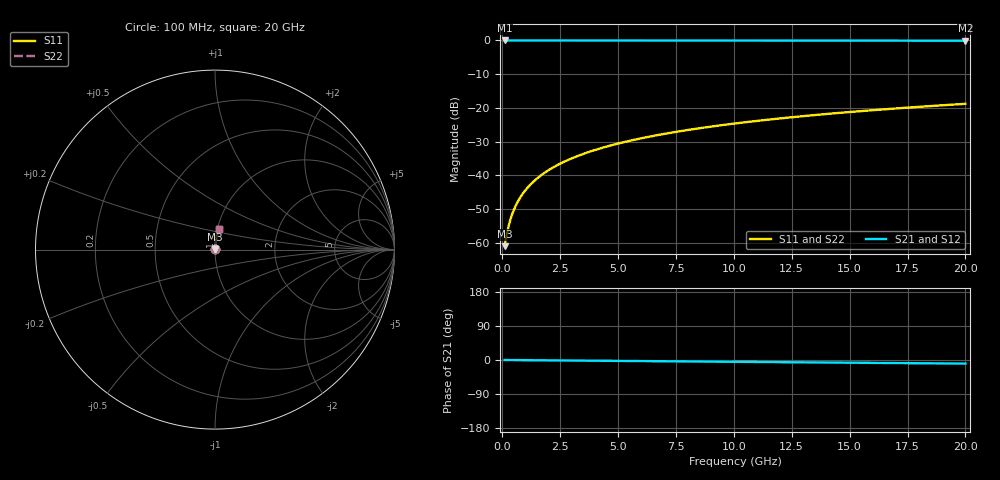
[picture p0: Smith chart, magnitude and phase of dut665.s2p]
! Touchstone file exported from HFSS 2026.1.0
!  File:  C:/ffzhzh/LocalFiles/Ansys_Project_Files/temp_train_TSV_665_1783027039_55676.aedt
!  Generated:  05:19:49 AM Jul  3, 2026
!  Design:  TSV
!  Project:  temp_train_TSV_665_1783027039_55676
! Variables:
!  h_bsmrdl = 2um
!  h_ox = 20um
!  h_rdl = 5um
!  h_sub = 59.18um
!  h_tmrdl = 5um
!  h_tsv = 59.18um
!  h_via = 3um
!  l_bsmrdl = 300um
!  l_sub = 406.64um
!  l_tmrdl = 200um
!  m_sub = 200um
!  pitch = 55.59um
!  r_tsv = 3.32um
!  s_tmrdl = 10um
!  w_bsmrdl = 18um
!  w_sub = 500um
!  w_tmrdl = 12um
!  x_tsv_center1 = 206um
!  x_tsv_center2 = 524um
!  x_tsv_center3 = 736um
!  x_tsv_center4 = 1054um
!  x_tsv_center5 = 1266um
!  x_tsv_center6 = 1584um
# GHz S MA R 50.000000
! Terminal data exported
! Port[1] = TSV1_1_T1
! Port[2] = TSV1_1_T2
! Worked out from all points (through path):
!   200 points, 100 MHz to 20 GHz, reference 50 ohm
!   highest |S21| = -0.01 dB at 100 MHz (marker M1); lowest = -0.1 dB at 20 GHz (marker M2)
!   group delay of S21, straight-line fit = 1.31 ps
!   lowest |S11| = -61.1 dB at 100 MHz (marker M3), VSWR 1.00, Z = 50.1 + j0.0605 ohm
!   |S11| at or under -10 dB: start of sweep to end of sweep
!   |S22| runs from -61.1 to -18.8 dB; largest |S21 - S12| = 1e-15
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0.1  0.0008854 43.0  0.9994 -0.0  0.9994 -0.0  0.0008854 43.0
! Gamma 0 0 0 0
! Port Impedance 50 0 50 0
0.2  0.001372 61.5  0.9993 -0.1  0.9993 -0.1  0.001372 61.5
0.3  0.001922 69.7  0.9993 -0.1  0.9993 -0.1  0.001922 69.7
0.4  0.00249 74.2  0.9993 -0.2  0.9993 -0.2  0.00249 74.2
0.5  0.003067 77.0  0.9993 -0.2  0.9993 -0.2  0.003067 77.0
0.6  0.003649 78.9  0.9993 -0.3  0.9993 -0.3  0.003649 78.9
0.8  0.004819 81.4  0.9993 -0.4  0.9993 -0.4  0.004819 81.4
1.1  0.006584 83.3  0.9993 -0.5  0.9993 -0.5  0.006584 83.3
1.5  0.008944 84.6  0.9992 -0.7  0.9992 -0.7  0.008944 84.6
1.8  0.01072 85.1  0.9992 -0.9  0.9992 -0.9  0.01072 85.1
2.1  0.01249 85.5  0.9992 -1.0  0.9992 -1.0  0.01249 85.5
2.7  0.01602 85.8  0.9991 -1.3  0.9991 -1.3  0.01602 85.8
3.5  0.02073 85.8  0.9989 -1.7  0.9989 -1.7  0.02073 85.8
4.2  0.02483 85.7  0.9987 -2.0  0.9987 -2.0  0.02483 85.7
5  0.0295 85.5  0.9985 -2.4  0.9985 -2.4  0.0295 85.5
5.9  0.03473 85.2  0.9982 -2.8  0.9982 -2.8  0.03473 85.2
6.8  0.03994 84.9  0.9979 -3.3  0.9979 -3.3  0.03994 84.9
8.3  0.04858 84.3  0.9974 -4.0  0.9974 -4.0  0.04858 84.3
10.1  0.05888 83.6  0.9966 -4.8  0.9966 -4.8  0.05888 83.6
13.4  0.07763 82.2  0.9951 -6.4  0.9951 -6.4  0.07763 82.2
16.7  0.09622 80.8  0.9933 -7.9  0.9933 -7.9  0.09622 80.8
20  0.1146 79.4  0.9911 -9.5  0.9911 -9.5  0.1146 79.4
